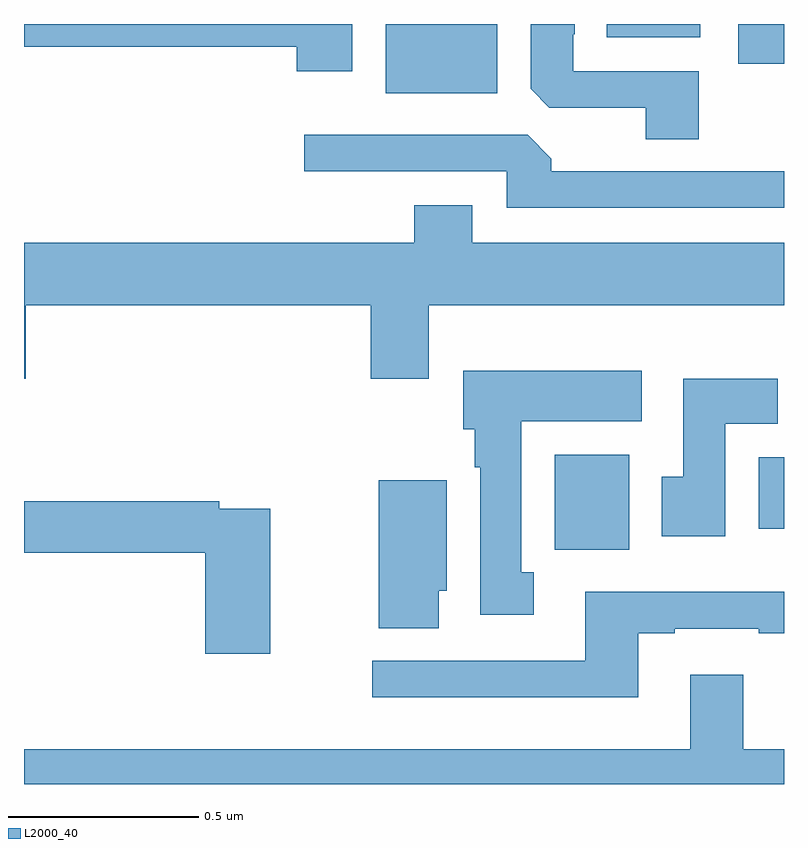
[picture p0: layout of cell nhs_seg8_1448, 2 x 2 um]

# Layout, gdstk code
import gdstk
lib = gdstk.Library(unit=1e-6, precision=1e-09)
def R(c, l, rs):  # rectangles x0, y0, x1, y1
    for r in rs: c.add(gdstk.rectangle(r[:2], r[2:], *l))
def P(c, l, *ps):  # polygons
    for p in ps: c.add(gdstk.Polygon(p, *l))
L2000_40 = (2000, 40)

nhs_seg8_1448 = lib.new_cell('nhs_seg8_1448')
R(nhs_seg8_1448, L2000_40, [(131.397,1122.516,131.593,1122.766), (131.933,1122.572,132,1122.76), (130.952,1123.718,131.245,1123.9), (131.88,1123.796,132,1123.9), (131.534,1123.865,131.779,1123.9)])
P(nhs_seg8_1448, L2000_40, [(130.864,1123.9),(130,1123.9),(130,1123.84),(130.718,1123.84),(130.718,1123.776),(130.864,1123.776)],
  [(131.776,1123.776),(131.445,1123.776),(131.445,1123.873),(131.449,1123.873),(131.449,1123.9),(131.333,1123.9),(131.333,1123.729),(131.382,1123.68),(131.636,1123.68),(131.636,1123.597),(131.776,1123.597)],
  [(132,1123.512),(131.387,1123.512),(131.387,1123.546),(131.325,1123.608),(130.737,1123.608),(130.737,1123.512),(131.271,1123.512),(131.271,1123.416),(132,1123.416)],
  [(131.027,1123.423),(131.027,1123.324),(130,1123.324),(130,1122.966),(130.004,1122.966),(130.004,1123.16),(130.913,1123.16),(130.913,1122.966),(131.065,1122.966),(131.065,1123.16),(132,1123.16),(132,1123.324),(131.179,1123.324),(131.179,1123.423)],
  [(131.341,1122.457),(131.308,1122.457),(131.308,1122.854),(131.626,1122.854),(131.626,1122.988),(131.156,1122.988),(131.156,1122.834),(131.186,1122.834),(131.186,1122.734),(131.201,1122.734),(131.201,1122.345),(131.341,1122.345)],
  [(131.845,1122.848),(131.984,1122.848),(131.984,1122.967),(131.735,1122.967),(131.735,1122.708),(131.678,1122.708),(131.678,1122.552),(131.845,1122.552)],
  [(131.092,1122.408),(131.113,1122.408),(131.113,1122.7),(130.934,1122.7),(130.934,1122.31),(131.092,1122.31)],
  [(130.648,1122.624),(130.514,1122.624),(130.514,1122.644),(130,1122.644),(130,1122.508),(130.477,1122.508),(130.477,1122.243),(130.648,1122.243)],
  [(131.617,1122.297),(131.713,1122.297),(131.713,1122.309),(131.933,1122.309),(131.933,1122.297),(132,1122.297),(132,1122.406),(131.477,1122.406),(131.477,1122.225),(130.917,1122.225),(130.917,1122.128),(131.617,1122.128)],
  [(130,1121.9),(132,1121.9),(132,1121.992),(131.893,1121.992),(131.893,1122.187),(131.753,1122.187),(131.753,1121.992),(130,1121.992)])

lib.write_gds('nhs_seg8_1448.gds')
